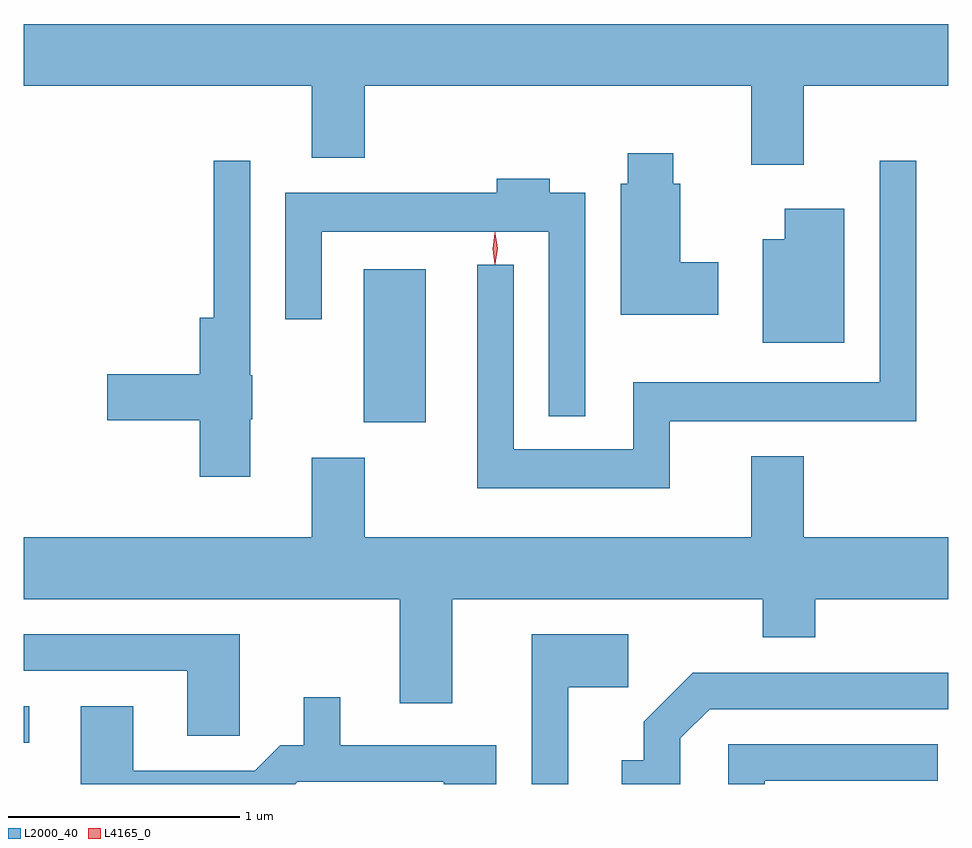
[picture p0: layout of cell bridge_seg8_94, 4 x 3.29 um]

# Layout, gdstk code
import gdstk
lib = gdstk.Library(unit=1e-6, precision=1e-09)
def R(c, l, rs):  # rectangles x0, y0, x1, y1
    for r in rs: c.add(gdstk.rectangle(r[:2], r[2:], *l))
def P(c, l, *ps):  # polygons
    for p in ps: c.add(gdstk.Polygon(p, *l))
L2000_40 = (2000, 40)
L4165_0 = (4165, 0)

bridge_seg8_94 = lib.new_cell('bridge_seg8_94')
R(bridge_seg8_94, L2000_40, [(1501.024,1815.816,1501.048,1815.974), (1502.496,1817.201,1502.764,1817.864)])
P(bridge_seg8_94, L2000_40, [(1501.024,1818.656),(1502.271,1818.656),(1502.271,1818.346),(1502.499,1818.346),(1502.499,1818.656),(1504.171,1818.656),(1504.171,1818.316),(1504.399,1818.316),(1504.399,1818.656),(1505.024,1818.656),(1505.024,1818.924),(1501.024,1818.924)],
  [(1504.029,1817.894),(1503.864,1817.894),(1503.864,1818.234),(1503.834,1818.234),(1503.834,1818.364),(1503.636,1818.364),(1503.636,1818.234),(1503.606,1818.234),(1503.606,1817.666),(1504.029,1817.666)],
  [(1503.819,1817.206),(1504.884,1817.206),(1504.884,1818.333),(1504.726,1818.333),(1504.726,1817.374),(1503.661,1817.374),(1503.661,1817.084),(1503.144,1817.084),(1503.144,1817.883),(1502.986,1817.883),(1502.986,1816.916),(1503.819,1816.916)],
  [(1502.004,1817.215),(1502.014,1817.215),(1502.014,1817.405),(1502.004,1817.405),(1502.004,1818.333),(1501.846,1818.333),(1501.846,1817.654),(1501.786,1817.654),(1501.786,1817.409),(1501.386,1817.409),(1501.386,1817.211),(1501.786,1817.211),(1501.786,1816.966),(1502.004,1816.966)],
  [(1503.454,1818.194),(1503.299,1818.194),(1503.299,1818.254),(1503.071,1818.254),(1503.071,1818.194),(1502.156,1818.194),(1502.156,1817.648),(1502.314,1817.648),(1502.314,1818.026),(1503.296,1818.026),(1503.296,1817.228),(1503.454,1817.228)],
  [(1504.574,1818.124),(1504.316,1818.124),(1504.316,1817.994),(1504.221,1817.994),(1504.221,1817.546),(1504.574,1817.546)],
  [(1502.879,1816.436),(1504.221,1816.436),(1504.221,1816.271),(1504.449,1816.271),(1504.449,1816.436),(1505.024,1816.436),(1505.024,1816.704),(1504.399,1816.704),(1504.399,1817.054),(1504.171,1817.054),(1504.171,1816.704),(1502.499,1816.704),(1502.499,1817.049),(1502.271,1817.049),(1502.271,1816.704),(1501.024,1816.704),(1501.024,1816.436),(1502.651,1816.436),(1502.651,1815.986),(1502.879,1815.986)],
  [(1503.379,1816.056),(1503.639,1816.056),(1503.639,1816.284),(1503.221,1816.284),(1503.221,1815.637),(1503.379,1815.637)],
  [(1501.959,1816.284),(1501.024,1816.284),(1501.024,1816.126),(1501.731,1816.126),(1501.731,1815.846),(1501.959,1815.846)],
  [(1503.864,1815.834),(1503.992,1815.961),(1505.024,1815.961),(1505.024,1816.119),(1503.919,1816.119),(1503.706,1815.907),(1503.706,1815.739),(1503.611,1815.739),(1503.611,1815.637),(1503.864,1815.637)],
  [(1502.207,1815.646),(1502.841,1815.646),(1502.841,1815.637),(1503.069,1815.637),(1503.069,1815.804),(1502.394,1815.804),(1502.394,1816.013),(1502.236,1816.013),(1502.236,1815.804),(1502.134,1815.804),(1502.024,1815.694),(1501.499,1815.694),(1501.499,1815.974),(1501.271,1815.974),(1501.271,1815.637),(1502.198,1815.637)],
  [(1504.229,1815.651),(1504.978,1815.651),(1504.978,1815.809),(1504.071,1815.809),(1504.071,1815.637),(1504.229,1815.637)])
P(bridge_seg8_94, L4165_0, [(1503.064,1817.887),(1503.064,1817.887),(1503.054,1817.954),(1503.064,1818.02),(1503.064,1818.02),(1503.065,1818.02),(1503.074,1817.954),(1503.065,1817.887)],
  [(1503.062,1817.884),(1503.053,1817.953),(1503.062,1818.022),(1503.063,1818.023),(1503.063,1818.022),(1503.073,1817.953),(1503.063,1817.884),(1503.063,1817.884)])

lib.write_gds('bridge_seg8_94.gds')
